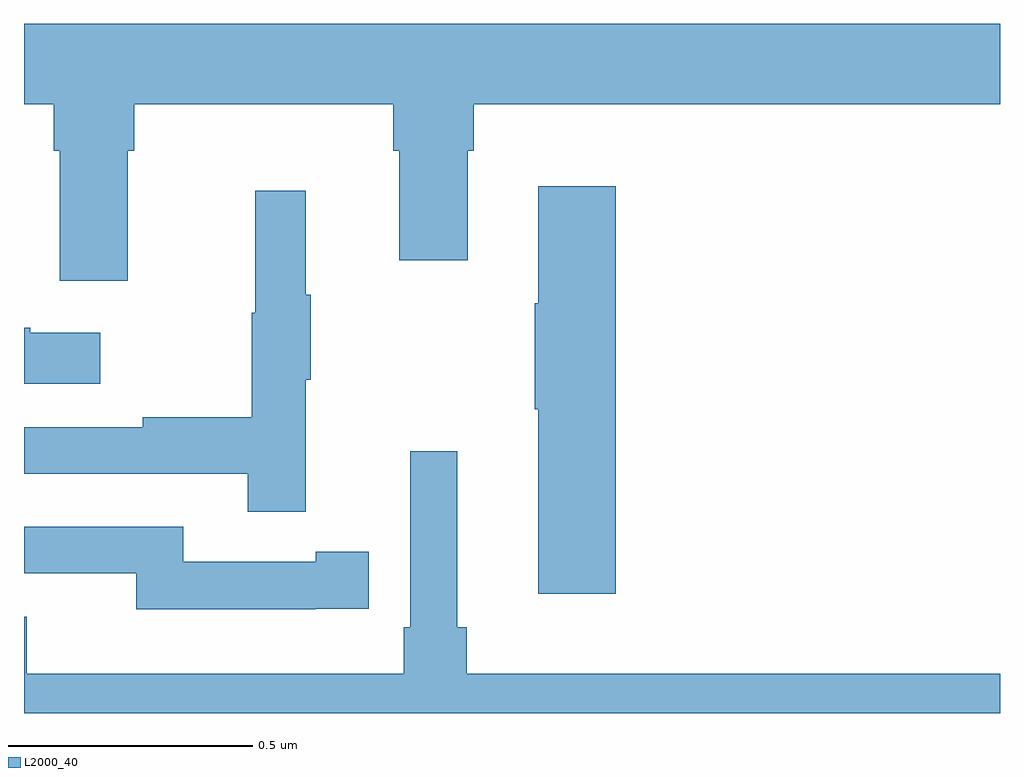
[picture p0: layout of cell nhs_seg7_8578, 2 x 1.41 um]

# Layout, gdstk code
import gdstk
lib = gdstk.Library(unit=1e-6, precision=1e-09)
def P(c, l, *ps):  # polygons
    for p in ps: c.add(gdstk.Polygon(p, *l))
L2000_40 = (2000, 40)

nhs_seg7_8578 = lib.new_cell('nhs_seg7_8578')
P(nhs_seg7_8578, L2000_40, [(226.213,1035.152),(226.226,1035.152),(226.226,1035.248),(226.757,1035.248),(226.757,1035.152),(226.769,1035.152),(226.769,1034.928),(226.909,1034.928),(226.909,1035.152),(226.922,1035.152),(226.922,1035.248),(228,1035.248),(228,1035.412),(226,1035.412),(226,1035.248),(226.061,1035.248),(226.061,1035.152),(226.073,1035.152),(226.073,1034.886),(226.213,1034.886)],
  [(227.213,1035.079),(227.054,1035.079),(227.054,1034.84),(227.047,1034.84),(227.047,1034.623),(227.054,1034.623),(227.054,1034.244),(227.213,1034.244)],
  [(226.577,1034.683),(226.588,1034.683),(226.588,1034.857),(226.577,1034.857),(226.577,1035.07),(226.474,1035.07),(226.474,1034.82),(226.467,1034.82),(226.467,1034.606),(226.243,1034.606),(226.243,1034.586),(226,1034.586),(226,1034.49),(226.459,1034.49),(226.459,1034.412),(226.577,1034.412)],
  [(226.156,1034.779),(226.013,1034.779),(226.013,1034.789),(226,1034.789),(226,1034.675),(226.156,1034.675)],
  [(228,1034.08),(226.907,1034.08),(226.907,1034.176),(226.888,1034.176),(226.888,1034.536),(226.791,1034.536),(226.791,1034.176),(226.778,1034.176),(226.778,1034.08),(226.006,1034.08),(226.006,1034.197),(226,1034.197),(226,1034),(228,1034)],
  [(226.598,1034.214),(226.706,1034.214),(226.706,1034.33),(226.598,1034.33),(226.598,1034.31),(226.326,1034.31),(226.326,1034.382),(226,1034.382),(226,1034.286),(226.23,1034.286),(226.23,1034.213),(226.598,1034.213)])

lib.write_gds('nhs_seg7_8578.gds')
